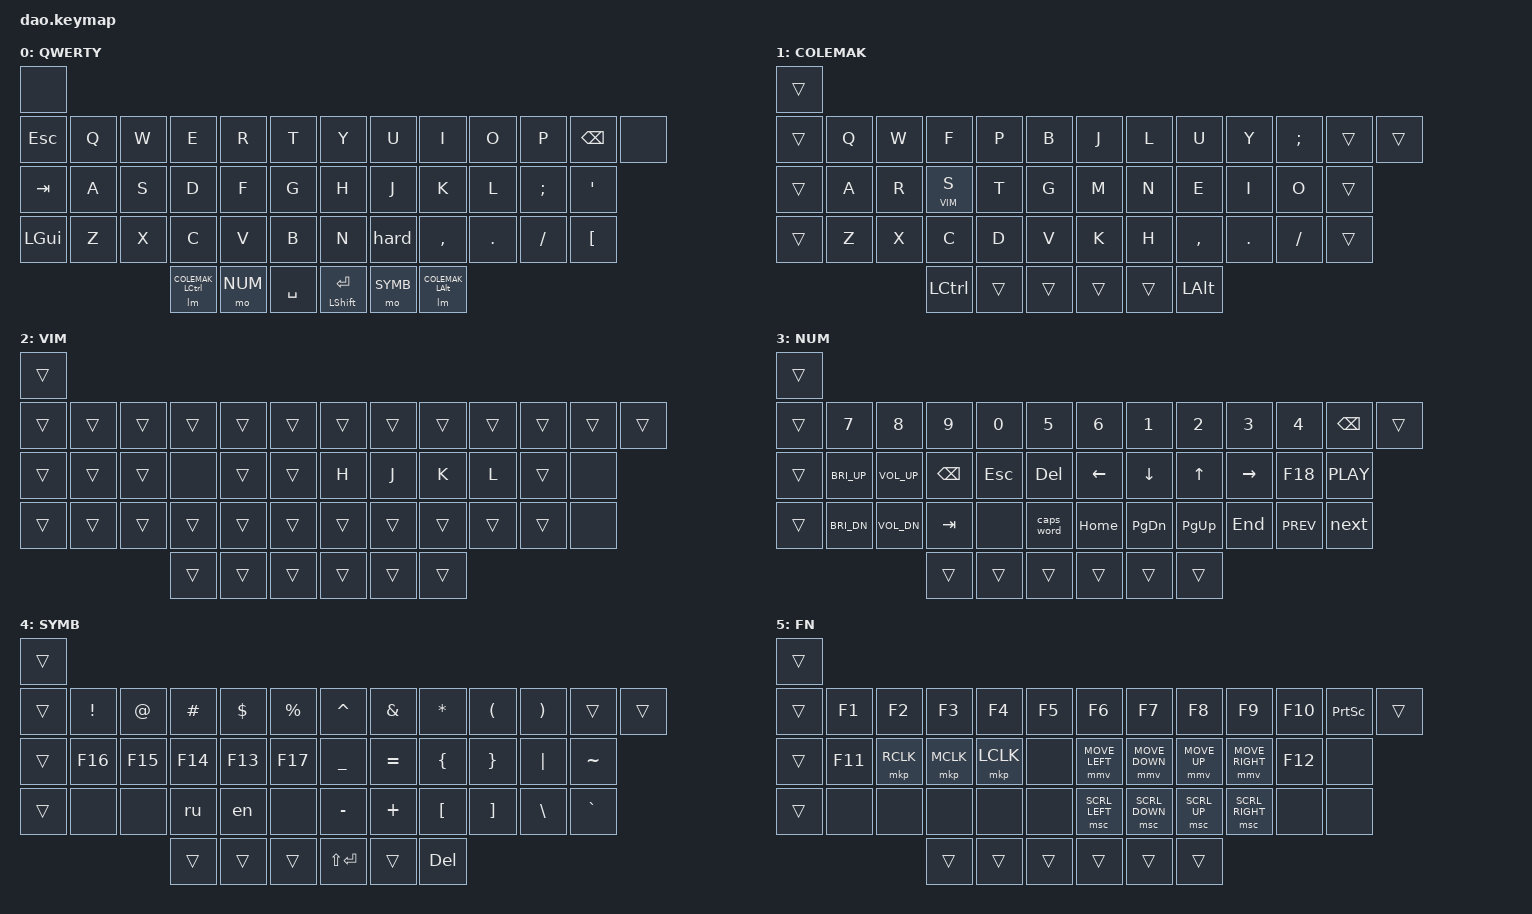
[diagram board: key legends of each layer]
/*
 * Copyright (c) 2021 Rafael Yumagulov
 *
 * SPDX-License-Identifier: MIT
 */

#include <behaviors.dtsi>
#include <dt-bindings/zmk/keys.h>

#define ZMK_POINTING_DEFAULT_MOVE_VAL 1500  // default: 600
#define ZMK_POINTING_DEFAULT_SCRL_VAL 20    // default: 10

#include <dt-bindings/zmk/pointing.h>

#define FF   F13
#define TERM F14
#define SLK  F15
#define KEE  F16
#define TG   F17
#define SPOT F18

#define QWERTY 0
#define COLEMAK 1
#define VIM 2
#define NUM 3
#define SYMB 4
#define FN 5

#define MEH(a) LS(LC(LA(a)))
#define HYPR(a) LS(LC(LA(LG(a))))

&lt { quick_tap_ms = <180>; };
&mt { quick_tap_ms = <180>; };

/ {
    behaviors {
        tog_on: toggle_layer_on_only {
            compatible = "zmk,behavior-toggle-layer";
            #binding-cells = <1>;
            display-name = "Toggle Layer On";
            toggle-mode = "on";
        };
        tog_off: toggle_layer_off_only {
            compatible = "zmk,behavior-toggle-layer";
            #binding-cells = <1>;
            display-name = "Toggle Layer Off";
            toggle-mode = "off";
        };
        hard: tap_dance_hard {
            compatible = "zmk,behavior-tap-dance";
            #binding-cells = <0>;
            tapping-term-ms = <180>;
            bindings = <&kp M>, <&kp RBKT>;
        };
        next: tap_dance_next {
            compatible = "zmk,behavior-tap-dance";
            #binding-cells = <0>;
            tapping-term-ms = <180>;
            bindings = <&kp C_NEXT>, <&kp HYPR(Q)>;
        };
    };
};

/ {
    macros {
        /**
        * Temporarily switches to a layer (`&mo`) while a modifier is held.
        * Analogous to QMK's `LM()`, using a parameterized macro.
        *
        * Params:
        *  1. Layer to switch to
        *  2. Modifier to press while layer is active
        *
        * Example:
        *  `&lm NUM_LAYER LSHIFT`
        */
        lm: lm {
            compatible = "zmk,behavior-macro-two-param";
            wait-ms = <0>;
            tap-ms = <0>;
            #binding-cells = <2>;
            bindings
                = <&macro_param_1to1>
                , <&macro_press &mo MACRO_PLACEHOLDER>
                , <&macro_param_2to1>
                , <&macro_press &kp MACRO_PLACEHOLDER>
                , <&macro_pause_for_release>
                , <&macro_param_2to1>
                , <&macro_release &kp MACRO_PLACEHOLDER>
                , <&macro_param_1to1>
                , <&macro_release &mo MACRO_PLACEHOLDER>
                ;
        };

        en: en {
            compatible = "zmk,behavior-macro";
            #binding-cells = <0>;
            bindings
                = <&kp CAPS>
                , <&tog_on COLEMAK>
                ;
        };

        ru: ru {
            compatible = "zmk,behavior-macro";
            #binding-cells = <0>;
            bindings
                = <&tog_off COLEMAK>
                , <&macro_press &kp LSHFT>
                , <&macro_tap &kp CAPS>
                , <&macro_release &kp LSHFT>
                ;
        };
    };
};

/ {
    conditional_layers {
        compatible = "zmk,conditional-layers";
        tri_layer {
            if-layers = <NUM SYMB>;
            then-layer = <FN>;
        };
    };
};

/ {
    keymap {
        compatible = "zmk,keymap";

        qwerty_layer {
            display-name = "QWERTY";
            bindings = <
    &none
/* ╭─────────────┬─────────────┬─────────────┬─────────────┬─────────────┬─────────────╮   ╭─────────────┬─────────────┬─────────────┬─────────────┬─────────────┬─────────────╮ */
    &kp ESC       &kp Q         &kp W         &kp E         &kp R         &kp T             &kp Y         &kp U         &kp I         &kp O         &kp P         &kp BSPC      &none
/* ├─────────────┼─────────────┼─────────────┼─────────────┼─────────────┼─────────────┤   ├─────────────┼─────────────┼─────────────┼─────────────┼─────────────┼─────────────┤ */
    &kp TAB       &kp A         &kp S         &kp D         &kp F         &kp G             &kp H         &kp J         &kp K         &kp L         &kp SEMI      &kp QUOT
/* ├─────────────┼─────────────┼─────────────┼─────────────┼─────────────┼─────────────┤   ├─────────────┼─────────────┼─────────────┼─────────────┼─────────────┼─────────────┤ */
    &kp LGUI      &kp Z         &kp X         &kp C         &kp V         &kp B             &kp N         &hard         &kp COMMA     &kp DOT       &kp SLASH     &kp LBKT
/* ╰─────────────┴─────────────┼─────────────┼─────────────┼─────────────┼─────────────┤   ├─────────────┼─────────────┼─────────────┼─────────────┼─────────────┼─────────────╯ */
                                              &lm COLEMAK LCTRL &mo NUM   &kp SPACE         &mt LSHFT RET &mo SYMB      &lm COLEMAK LALT
                                          /* ╰─────────────┴─────────────┴─────────────╯   ╰─────────────┴─────────────┴─────────────╯ */
            >;
        };
        colemak_layer {
            display-name = "COLEMAK";
            bindings = <
    &trans
/* ╭─────────────┬─────────────┬─────────────┬─────────────┬─────────────┬─────────────╮   ╭─────────────┬─────────────┬─────────────┬─────────────┬─────────────┬─────────────╮ */
    &trans        &kp Q         &kp W         &kp F         &kp P         &kp B             &kp J         &kp L         &kp U         &kp Y         &kp SEMI      &trans        &trans
/* ├─────────────┼─────────────┼─────────────┼─────────────┼─────────────┼─────────────┤   ├─────────────┼─────────────┼─────────────┼─────────────┼─────────────┼─────────────┤ */
    &trans        &kp A         &kp R         &lt VIM S     &kp T         &kp G             &kp M         &kp N         &kp E         &kp I         &kp O         &trans
/* ├─────────────┼─────────────┼─────────────┼─────────────┼─────────────┼─────────────┤   ├─────────────┼─────────────┼─────────────┼─────────────┼─────────────┼─────────────┤ */
    &trans        &kp Z         &kp X         &kp C         &kp D         &kp V             &kp K         &kp H         &kp COMMA     &kp DOT       &kp FSLH      &trans
/* ╰─────────────┴─────────────┼─────────────┼─────────────┼─────────────┼─────────────┤   ├─────────────┼─────────────┼─────────────┼─────────────┼─────────────┼─────────────╯ */
                                              &kp LCTRL     &trans        &trans            &trans        &trans        &kp LALT
                                          /* ╰─────────────┴─────────────┴─────────────╯   ╰─────────────┴─────────────┴─────────────╯ */
            >;
        };
        vim_layer {
            display-name = "VIM";
            bindings = <
    &trans
/* ╭─────────────┬─────────────┬─────────────┬─────────────┬─────────────┬─────────────╮   ╭─────────────┬─────────────┬─────────────┬─────────────┬─────────────┬─────────────╮ */
    &trans        &trans        &trans        &trans        &trans        &trans            &trans        &trans        &trans        &trans        &trans        &trans        &trans
/* ├─────────────┼─────────────┼─────────────┼─────────────┼─────────────┼─────────────┤   ├─────────────┼─────────────┼─────────────┼─────────────┼─────────────┼─────────────┤ */
    &trans        &trans        &trans        &none         &trans        &trans            &kp H         &kp J         &kp K         &kp L         &trans        &none
/* ├─────────────┼─────────────┼─────────────┼─────────────┼─────────────┼─────────────┤   ├─────────────┼─────────────┼─────────────┼─────────────┼─────────────┼─────────────┤ */
    &trans        &trans        &trans        &trans        &trans        &trans            &trans        &trans        &trans        &trans        &trans        &none
/* ╰─────────────┴─────────────┼─────────────┼─────────────┼─────────────┼─────────────┤   ├─────────────┼─────────────┼─────────────┼─────────────┼─────────────┼─────────────╯ */
                                              &trans        &trans        &trans            &trans        &trans        &trans
                                          /* ╰─────────────┴─────────────┴─────────────╯   ╰─────────────┴─────────────┴─────────────╯ */
            >;
        };
        num_layer {
            display-name = "NUM";
            bindings = <
    &trans
/* ╭─────────────┬─────────────┬─────────────┬─────────────┬─────────────┬─────────────╮   ╭─────────────┬─────────────┬─────────────┬─────────────┬─────────────┬─────────────╮ */
    &trans        &kp N7        &kp N8        &kp N9        &kp N0        &kp N5            &kp N6        &kp N1        &kp N2        &kp N3        &kp N4        &kp BSPC      &trans
/* ├─────────────┼─────────────┼─────────────┼─────────────┼─────────────┼─────────────┤   ├─────────────┼─────────────┼─────────────┼─────────────┼─────────────┼─────────────┤ */
    &trans        &kp C_BRI_UP  &kp C_VOL_UP  &kp BSPC      &kp ESC       &kp DEL           &kp LEFT      &kp DOWN      &kp UP        &kp RIGHT     &kp SPOT      &kp C_PLAY
/* ├─────────────┼─────────────┼─────────────┼─────────────┼─────────────┼─────────────┤   ├─────────────┼─────────────┼─────────────┼─────────────┼─────────────┼─────────────┤ */
    &trans        &kp C_BRI_DN  &kp C_VOL_DN  &kp TAB       &none         &caps_word        &kp HOME      &kp PG_DN     &kp PG_UP     &kp END       &kp C_PREV    &next
/* ╰─────────────┴─────────────┼─────────────┼─────────────┼─────────────┼─────────────┤   ├─────────────┼─────────────┼─────────────┼─────────────┼─────────────┼─────────────╯ */
                                              &trans        &trans        &trans            &trans        &trans        &trans
                                          /* ╰─────────────┴─────────────┴─────────────╯   ╰─────────────┴─────────────┴─────────────╯ */
            >;
        };
        symb_layer {
            display-name = "SYMB";
            bindings = <
    &trans
/* ╭─────────────┬─────────────┬─────────────┬─────────────┬─────────────┬─────────────╮   ╭─────────────┬─────────────┬─────────────┬─────────────┬─────────────┬─────────────╮ */
    &trans        &kp EXCL      &kp AT        &kp HASH      &kp DLLR      &kp PRCNT         &kp CARET     &kp AMPS      &kp STAR      &kp LPAR      &kp RPAR      &trans         &trans
/* ├─────────────┼─────────────┼─────────────┼─────────────┼─────────────┼─────────────┤   ├─────────────┼─────────────┼─────────────┼─────────────┼─────────────┼─────────────┤ */
    &trans        &kp KEE       &kp SLK       &kp TERM      &kp FF        &kp TG            &kp UNDER     &kp EQUAL     &kp LBRC      &kp RBRC      &kp PIPE      &kp TILDE
/* ├─────────────┼─────────────┼─────────────┼─────────────┼─────────────┼─────────────┤   ├─────────────┼─────────────┼─────────────┼─────────────┼─────────────┼─────────────┤ */
    &trans        &none         &none         &ru           &en           &none             &kp MINUS     &kp PLUS      &kp LBKT      &kp RBKT      &kp BSLH      &kp GRAVE
/* ╰─────────────┼─────────────┼─────────────┼─────────────┼─────────────┼─────────────┤   ├─────────────┼─────────────┼─────────────┼─────────────┼─────────────┼─────────────╯ */
                                              &trans        &trans        &trans            &kp LS(RET)   &trans        &kp DEL
                                          /* ╰─────────────┴─────────────┴─────────────╯   ╰─────────────┴─────────────┴─────────────╯ */
            >;
        };
        fn_layer {
            display-name = "FN";
            bindings = <
    &trans
/* ╭─────────────┬─────────────┬─────────────┬─────────────┬─────────────┬─────────────╮   ╭─────────────┬─────────────┬─────────────┬─────────────┬─────────────┬─────────────╮ */
    &trans        &kp F1        &kp F2        &kp F3        &kp F4        &kp F5            &kp F6        &kp F7        &kp F8        &kp F9        &kp F10       &kp PSCRN     &trans
/* ├─────────────┼─────────────┼─────────────┼─────────────┼─────────────┼─────────────┤   ├─────────────┼─────────────┼─────────────┼─────────────┼─────────────┼─────────────┤ */
    &trans        &kp F11       &mkp RCLK     &mkp MCLK     &mkp LCLK     &none             &mmv MOVE_LEFT &mmv MOVE_DOWN &mmv MOVE_UP &mmv MOVE_RIGHT &kp F12    &none
/* ├─────────────┼─────────────┼─────────────┼─────────────┼─────────────┼─────────────┤   ├─────────────┼─────────────┼─────────────┼─────────────┼─────────────┼─────────────┤ */
    &trans        &none         &none         &none         &none         &none             &msc SCRL_LEFT &msc SCRL_DOWN &msc SCRL_UP &msc SCRL_RIGHT &none      &none
/* ╰─────────────┴─────────────┼─────────────┼─────────────┼─────────────┼─────────────┤   ├─────────────┼─────────────┼─────────────┼─────────────┼─────────────┼─────────────╯ */
                                              &trans        &trans        &trans            &trans        &trans        &trans
                                          /* ╰─────────────┴─────────────┴─────────────╯   ╰─────────────┴─────────────┴─────────────╯ */
            >;
        };
    };
};
